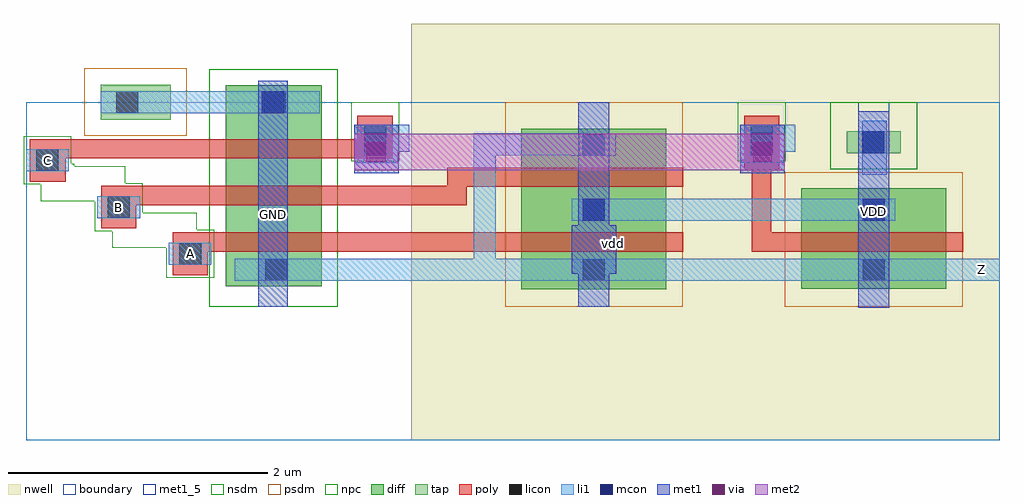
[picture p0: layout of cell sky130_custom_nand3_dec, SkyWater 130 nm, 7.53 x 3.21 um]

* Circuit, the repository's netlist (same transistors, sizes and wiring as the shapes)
* Top level circuit sky130_fd_bd_sram__openram_sp_custom_nand3_dec
.subckt sky130_custom_nand3_dec A B C Z VDD GND

X1001 Z A a_n346_328# GND sky130_fd_pr__nfet_01v8 W=0.74u L=0.15u m=1
X1002 a_n346_256# C GND GND sky130_fd_pr__nfet_01v8 W=0.74u L=0.15u m=1
X1003 a_n346_328# B a_n346_256# GND sky130_fd_pr__nfet_01v8 W=0.74u L=0.15u m=1
X1000 Z B VDD VDD sky130_fd_pr__pfet_01v8 W=1.12u L=0.15u m=1
X1004 Z A VDD VDD sky130_fd_pr__pfet_01v8 W=1.12u L=0.15u m=1
X1005 Z C VDD VDD sky130_fd_pr__pfet_01v8 W=1.12u L=0.15u m=1
.ends

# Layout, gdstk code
import gdstk
lib = gdstk.Library(unit=1e-6, precision=1e-09)
def R(c, l, rs):  # rectangles x0, y0, x1, y1
    for r in rs: c.add(gdstk.rectangle(r[:2], r[2:], *l))
nwell = (64, 20)
diff = (65, 20)
tap = (65, 44)
poly = (66, 20)
licon = (66, 44)
li1 = (67, 20)
mcon = (67, 44)
met1_5 = (68, 5)
met1 = (68, 20)
via = (68, 44)
met2 = (69, 20)
nsdm = (93, 44)
psdm = (94, 20)
npc = (95, 20)
boundary = (235, 4)

sky130_custom_nand3_dec = lib.new_cell('sky130_custom_nand3_dec')
R(sky130_custom_nand3_dec, nwell, [(2.97,0,7.51,3.215)])
R(sky130_custom_nand3_dec, diff, [(3.82,1.165,4.94,2.405), (5.98,1.17,7.1,1.945), (1.54,1.19,2.28,2.74)])
R(sky130_custom_nand3_dec, tap, [(6.33,2.215,6.75,2.385), (0.575,2.475,1.115,2.745)])
R(sky130_custom_nand3_dec, poly, [(1.13,1.275,1.4,1.455), (1.13,1.455,5.07,1.605), (5.6,1.455,7.23,1.605), (5.6,1.605,5.75,2.095), (0.58,1.635,0.85,1.815), (0.58,1.815,3.4,1.955), (0.58,1.955,5.07,1.965), (3.25,1.965,5.07,2.105), (0.03,1.995,0.305,2.175), (5.54,2.095,5.81,2.505), (0.03,2.175,2.83,2.325), (2.555,2.325,2.83,2.505)])
R(sky130_custom_nand3_dec, licon, [(1.845,1.23,2.015,1.4), (4.295,1.23,4.465,1.4), (6.455,1.23,6.625,1.4), (1.18,1.355,1.35,1.525), (4.295,1.695,4.465,1.865), (6.455,1.695,6.625,1.865), (0.63,1.715,0.8,1.885), (0.08,2.075,0.25,2.245), (4.295,2.195,4.465,2.365), (6.45,2.215,6.62,2.385), (2.61,2.255,2.78,2.425), (5.59,2.255,5.76,2.425), (0.695,2.525,0.865,2.695), (1.835,2.525,2.005,2.695)])
R(sky130_custom_nand3_dec, li1, [(1.61,1.23,7.51,1.4), (1.1,1.355,1.43,1.525), (3.455,1.4,3.625,2.2), (4.21,1.695,6.705,1.865), (0.55,1.715,0.88,1.885), (6.45,2.05,6.64,2.465), (0,2.075,0.33,2.245), (2.53,2.14,2.87,2.225), (5.51,2.14,5.85,2.225), (4.21,2.195,4.55,2.2), (3.455,2.2,4.55,2.365), (2.53,2.225,2.955,2.435), (5.51,2.225,5.935,2.435), (3.455,2.365,4.335,2.37), (0.575,2.525,2.265,2.695)])
R(sky130_custom_nand3_dec, mcon, [(4.295,1.695,4.465,1.865), (6.455,1.695,6.625,1.865), (2.61,2.2,2.78,2.37), (5.59,2.2,5.76,2.37), (6.45,2.215,6.62,2.385), (1.82,2.525,1.99,2.695)])
R(sky130_custom_nand3_dec, met1_5, [(6.42,1.025,6.66,2.61), (1.79,1.03,2.02,2.775)])
R(sky130_custom_nand3_dec, met1, [(6.42,1.025,6.66,2.54), (1.79,1.03,2.02,2.775), (4.26,1.03,4.5,2.61), (4.21,1.285,4.555,1.6), (4.21,1.6,4.555,1.66), (2.53,2.06,2.875,2.375), (5.51,2.06,5.855,2.375), (2.53,2.375,2.875,2.435), (5.51,2.375,5.855,2.435)])
R(sky130_custom_nand3_dec, via, [(2.625,2.15,2.775,2.3), (5.605,2.15,5.755,2.3)])
R(sky130_custom_nand3_dec, met2, [(2.53,2.085,2.875,2.365), (2.53,2.085,5.855,2.365), (5.51,2.085,5.855,2.225), (5.51,2.225,5.855,2.365)])
R(sky130_custom_nand3_dec, nsdm, [(1.415,1.03,2.405,2.865), (6.205,2.09,6.875,2.61)])
R(sky130_custom_nand3_dec, psdm, [(3.695,1.03,5.065,2.61), (5.855,1.03,7.225,2.07), (0.45,2.35,1.24,2.87)])
R(sky130_custom_nand3_dec, npc, [(1.08,1.255,1.45,1.485), (0.665,1.485,1.45,1.615), (0.53,1.615,1.45,1.625), (0.53,1.625,1.315,1.755), (0.53,1.755,0.9,1.845), (0.115,1.845,0.9,1.975), (-0.02,1.975,0.9,1.985), (-0.02,1.985,0.765,2.115), (-0.02,2.115,0.37,2.135), (-0.02,2.135,0.35,2.345), (2.51,2.155,2.88,2.61), (5.49,2.155,5.86,2.61)])
R(sky130_custom_nand3_dec, boundary, [(0,0,7.51,2.61)])
sky130_custom_nand3_dec.add(gdstk.Label('vdd', (4.53,1.52), layer=68, texttype=5))
sky130_custom_nand3_dec.add(gdstk.Label('VDD', (4.53,1.515), layer=68, texttype=5))
sky130_custom_nand3_dec.add(gdstk.Label('GND', (1.905,1.745), layer=68, texttype=5))
sky130_custom_nand3_dec.add(gdstk.Label('gnd', (1.905,1.735), layer=68, texttype=5))
sky130_custom_nand3_dec.add(gdstk.Label('VDD', (6.54,1.767), layer=68, texttype=5))
sky130_custom_nand3_dec.add(gdstk.Label('vdd', (6.54,1.765), layer=68, texttype=5))
sky130_custom_nand3_dec.add(gdstk.Label('gnd', (1.905,1.745), layer=68, texttype=5))
sky130_custom_nand3_dec.add(gdstk.Label('Z', (7.37,1.315), layer=67, texttype=5))
sky130_custom_nand3_dec.add(gdstk.Label('A', (1.265,1.44), layer=67, texttype=5))
sky130_custom_nand3_dec.add(gdstk.Label('B', (0.715,1.8), layer=67, texttype=5))
sky130_custom_nand3_dec.add(gdstk.Label('C', (0.165,2.16), layer=67, texttype=5))

lib.write_gds('sky130_custom_nand3_dec.gds')
